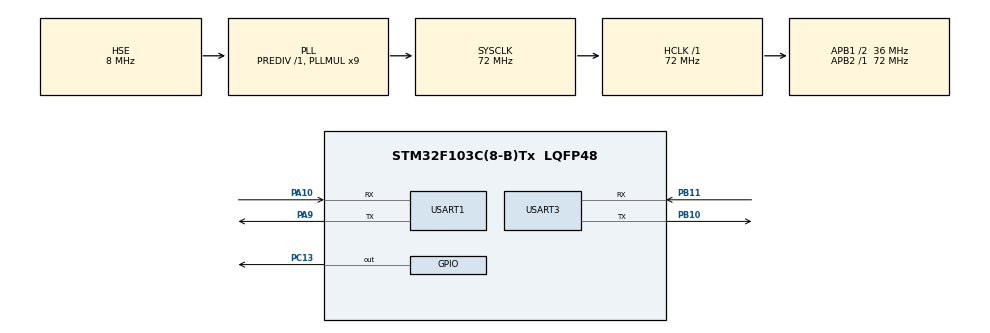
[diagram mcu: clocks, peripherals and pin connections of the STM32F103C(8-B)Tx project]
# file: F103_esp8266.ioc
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Mcu.Family=STM32F1
Mcu.Name=STM32F103C(8-B)Tx
Mcu.Package=LQFP48
NVIC.PriorityGroup=NVIC_PRIORITYGROUP_4
NVIC.USART3_IRQn=true\:0\:0\:false\:false\:true\:true\:true\:true
PA10.Mode=Asynchronous
PA10.Signal=USART1_RX
PA13.Mode=Serial_Wire
PA13.Signal=SYS_JTMS-SWDIO
PA14.Mode=Serial_Wire
PA14.Signal=SYS_JTCK-SWCLK
PA9.Mode=Asynchronous
PA9.Signal=USART1_TX
PB10.Mode=Asynchronous
PB10.Signal=USART3_TX
PB11.Mode=Asynchronous
PB11.Signal=USART3_RX
PC13-TAMPER-RTC.Signal=GPIO_Output
PD0-OSC_IN.Mode=HSE-External-Oscillator
PD0-OSC_IN.Signal=RCC_OSC_IN
PD1-OSC_OUT.Mode=HSE-External-Oscillator
PD1-OSC_OUT.Signal=RCC_OSC_OUT
ProjectManager.HeapSize=0x200
ProjectManager.StackSize=0x400
ProjectManager.TargetToolchain=MDK-ARM V5.32
RCC.AHBFreq_Value=72000000
RCC.APB1CLKDivider=RCC_HCLK_DIV2
RCC.APB1Freq_Value=36000000
RCC.APB1TimFreq_Value=72000000
RCC.APB2Freq_Value=72000000
RCC.APB2TimFreq_Value=72000000
RCC.HCLKFreq_Value=72000000
RCC.PLLMUL=RCC_PLL_MUL9
RCC.PLLSourceVirtual=RCC_PLLSOURCE_HSE
RCC.SYSCLKFreq_VALUE=72000000
RCC.SYSCLKSource=RCC_SYSCLKSOURCE_PLLCLK
RCC.USBFreq_Value=72000000
USART1.VirtualMode=VM_ASYNC
USART3.VirtualMode=VM_ASYNC
board=custom

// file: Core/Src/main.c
/* USER CODE BEGIN Header */
/**
  ******************************************************************************
  * @file           : main.c
  * @brief          : Main program body
  ******************************************************************************
  * @attention
  *
  * Copyright (c) 2023 STMicroelectronics.
  * All rights reserved.
  *
  * This software is licensed under terms that can be found in the LICENSE file
  * in the root directory of this software component.
  * If no LICENSE file comes with this software, it is provided AS-IS.
  *
  ******************************************************************************
  */
/* USER CODE END Header */
#include "main.h"
#include "usart.h"
#include "gpio.h"

/* USER CODE BEGIN Includes */

#include <string.h>
#include "My_esp8266.h"

/* USER CODE END Includes */

/* USER CODE BEGIN PV */

#define RXBUFFERSIZE  256     //最大接收字节数
char RxBuffer[RXBUFFERSIZE];   //接收数据
uint8_t aRxBuffer;			//接收中断缓冲
uint8_t Uart3_Rx_Cnt = 0;		//接收缓冲计数
uint8_t my_test_v = 0 ;
char my_order[15]={0};
char receive_flag=0;

/* USER CODE END PV */

void SystemClock_Config(void);

/* USER CODE BEGIN 0 */

void Esp8266(){

			//     HAL_Delay(20);
		if(receive_flag)
	{
		receive_flag=0;
		if(strstr((const char*)my_order,(const char*)"<on>")) //输入on，LED0亮
		{
			Uart3_Rx_Cnt=0;
			memset(RxBuffer,0x00,sizeof(RxBuffer)); //清空数组
			memset(RxBuffer,0x00,sizeof(my_order)); //清空数组
			my_test_v=1;
		}
		else if(strstr((const char*)my_order,(const char*)"<off>"))
		{
					Uart3_Rx_Cnt=0;
			memset(RxBuffer,0x00,sizeof(RxBuffer)); //清空数组
			memset(RxBuffer,0x00,sizeof(my_order)); //清空数组
		  my_test_v=0;
		}
		else
			{
			Uart3_Rx_Cnt=0;
			memset(RxBuffer,0x00,sizeof(RxBuffer)); //清空数组
			memset(RxBuffer,0x00,sizeof(my_order)); //清空数组

		}

 	}
		if(my_test_v==1)
			HAL_GPIO_WritePin(GPIOC,GPIO_PIN_13,GPIO_PIN_RESET );
		else
	  	HAL_GPIO_WritePin(GPIOC,GPIO_PIN_13,GPIO_PIN_SET );

  }

/* USER CODE END 0 */

int main(void)
{

  /* MCU Configuration--------------------------------------------------------*/

  /* Reset of all peripherals, Initializes the Flash interface and the Systick. */
  HAL_Init();

  /* Configure the system clock */
  SystemClock_Config();

  /* Initialize all configured peripherals */
  MX_GPIO_Init();
  MX_USART1_UART_Init();
  MX_USART3_UART_Init();
  /* USER CODE BEGIN 2 */

	HAL_GPIO_WritePin(GPIOA,GPIO_PIN_8,GPIO_PIN_RESET );
	HAL_UART_Receive_IT(&huart3, (uint8_t *)&aRxBuffer, 1);
	esp8266_start_trans();

  /* USER CODE END 2 */

  /* Infinite loop */
  while (1)
  {

    /* USER CODE BEGIN 3 */

	Esp8266();

  /* USER CODE END 3 */
}

}

void SystemClock_Config(void)
{
  RCC_OscInitTypeDef RCC_OscInitStruct = {0};
  RCC_ClkInitTypeDef RCC_ClkInitStruct = {0};

  /** Initializes the RCC Oscillators according to the specified parameters
  * in the RCC_OscInitTypeDef structure.
  */
  RCC_OscInitStruct.OscillatorType = RCC_OSCILLATORTYPE_HSE;
  RCC_OscInitStruct.HSEState = RCC_HSE_ON;
  RCC_OscInitStruct.HSEPredivValue = RCC_HSE_PREDIV_DIV1;
  RCC_OscInitStruct.HSIState = RCC_HSI_ON;
  RCC_OscInitStruct.PLL.PLLState = RCC_PLL_ON;
  RCC_OscInitStruct.PLL.PLLSource = RCC_PLLSOURCE_HSE;
  RCC_OscInitStruct.PLL.PLLMUL = RCC_PLL_MUL9;
  if (HAL_RCC_OscConfig(&RCC_OscInitStruct) != HAL_OK)
  {
    Error_Handler();
  }

  /** Initializes the CPU, AHB and APB buses clocks
  */
  RCC_ClkInitStruct.ClockType = RCC_CLOCKTYPE_HCLK|RCC_CLOCKTYPE_SYSCLK
                              |RCC_CLOCKTYPE_PCLK1|RCC_CLOCKTYPE_PCLK2;
  RCC_ClkInitStruct.SYSCLKSource = RCC_SYSCLKSOURCE_PLLCLK;
  RCC_ClkInitStruct.AHBCLKDivider = RCC_SYSCLK_DIV1;
  RCC_ClkInitStruct.APB1CLKDivider = RCC_HCLK_DIV2;
  RCC_ClkInitStruct.APB2CLKDivider = RCC_HCLK_DIV1;

  if (HAL_RCC_ClockConfig(&RCC_ClkInitStruct, FLASH_LATENCY_2) != HAL_OK)
  {
    Error_Handler();
  }
}

/* USER CODE BEGIN 4 */

void HAL_UART_RxCpltCallback(UART_HandleTypeDef *huart)
{
  /* Prevent unused argument(s) compilation warning */
  UNUSED(huart);
  /* NOTE: This function Should not be modified, when the callback is needed,
           the HAL_UART_TxCpltCallback could be implemented in the user file
   */

	if(Uart3_Rx_Cnt >= 255)  //溢出判断
	{
		Uart3_Rx_Cnt = 0;
		memset(RxBuffer,0x00,sizeof(RxBuffer));
	}
	else
	{
		static uint8_t Uart3_count=0;

		RxBuffer[Uart3_Rx_Cnt] = aRxBuffer;   //接收数据转存
		if(receive_flag==0)
		{
		if(RxBuffer[Uart3_Rx_Cnt-Uart3_count]=='<')
		{
			Uart3_count++;
		if((RxBuffer[Uart3_Rx_Cnt]=='>')||Uart3_count>=14)
		{
			uint8_t My_i=0;
		for(int i=Uart3_Rx_Cnt-Uart3_count+1;i<Uart3_Rx_Cnt+1;i++)
			my_order[My_i++]=RxBuffer[i];
			receive_flag=1;
			Uart3_count=0;
		}
	}
	}
		Uart3_Rx_Cnt++;
	}

	HAL_UART_Receive_IT(&huart3, (uint8_t *)&aRxBuffer, 1);   //再开启接收中断
}

/* USER CODE END 4 */

void Error_Handler(void)
{
  __disable_irq();
  while (1)
  {
  }
}
